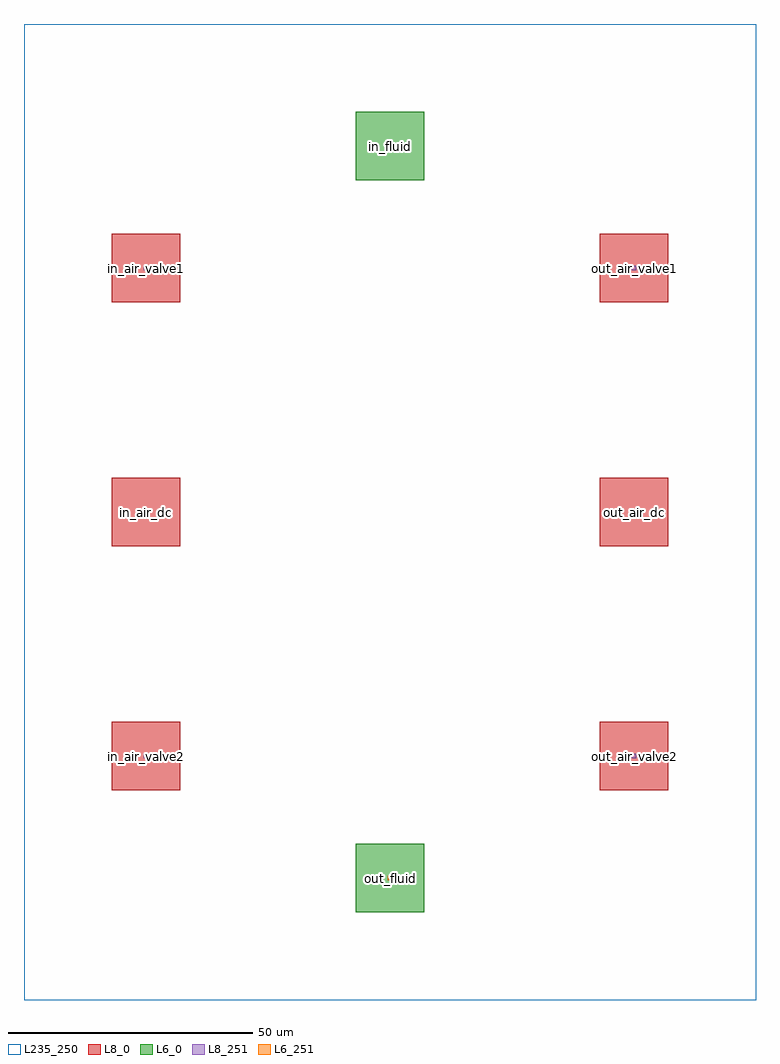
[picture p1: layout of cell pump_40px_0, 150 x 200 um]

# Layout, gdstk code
import gdstk
lib = gdstk.Library(unit=1e-6, precision=1e-09)
def R(c, l, rs):  # rectangles x0, y0, x1, y1
    for r in rs: c.add(gdstk.rectangle(r[:2], r[2:], *l))
def A(c, l, x, y, w, h, nx, ny, dx, dy):  # array of equal rectangles
    R(c, l, [(x+i*dx, y+j*dy, x+i*dx+w, y+j*dy+h) for i in range(nx) for j in range(ny)])
L6_0 = (6, 0)
L6_251 = (6, 251)
L8_0 = (8, 0)
L8_251 = (8, 251)
L235_250 = (235, 250)

pump_40px_0 = lib.new_cell('pump_40px_0')
R(pump_40px_0, L6_0, [(68,18,82,32), (68,168,82,182)])
R(pump_40px_0, L6_251, [(74.5,24.5,75.5,25.5), (74.5,174.5,75.5,175.5)])
A(pump_40px_0, L8_0, 18, 43, 14, 14, 1, 3, 0, 50)
A(pump_40px_0, L8_0, 118, 43, 14, 14, 1, 3, 0, 50)
A(pump_40px_0, L8_251, 24.5, 49.5, 1, 1, 1, 3, 0, 50)
A(pump_40px_0, L8_251, 124.5, 49.5, 1, 1, 1, 3, 0, 50)
R(pump_40px_0, L235_250, [(0,0,150,200)])
pump_40px_0.add(gdstk.Label('out_fluid', (75,25), layer=6, texttype=251))
pump_40px_0.add(gdstk.Label('in_fluid', (75,175), layer=6, texttype=251))
pump_40px_0.add(gdstk.Label('out_air_valve2', (125,50), layer=8, texttype=251))
pump_40px_0.add(gdstk.Label('out_air_dc', (125,100), layer=8, texttype=251))
pump_40px_0.add(gdstk.Label('out_air_valve1', (125,150), layer=8, texttype=251))
pump_40px_0.add(gdstk.Label('in_air_valve2', (25,50), layer=8, texttype=251))
pump_40px_0.add(gdstk.Label('in_air_dc', (25,100), layer=8, texttype=251))
pump_40px_0.add(gdstk.Label('in_air_valve1', (25,150), layer=8, texttype=251))

lib.write_gds('pump_40px_0.gds')
